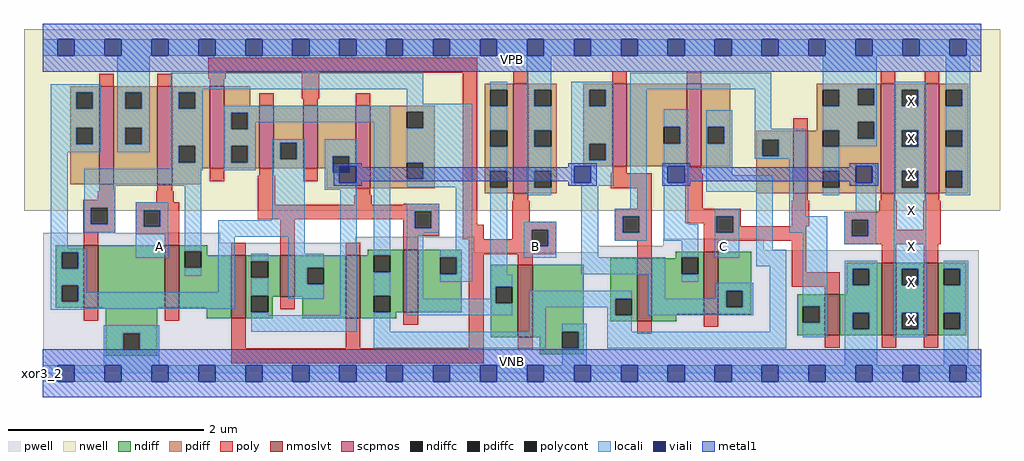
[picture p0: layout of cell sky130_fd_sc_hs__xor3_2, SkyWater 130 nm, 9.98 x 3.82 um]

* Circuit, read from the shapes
.subckt sky130_fd_sc_hs__xor3_2 A B C VGND VNB VPB VPWR X
XM1 VGND n1 n2 VNB sky130_fd_pr__nfet_01v8_lvt w=0.64 l=0.15
XM2 n1 A VGND VNB sky130_fd_pr__nfet_01v8_lvt w=0.64 l=0.15
XM3 n3 B n1 VNB sky130_fd_pr__nfet_01v8_lvt w=0.64 l=0.15
XM4 n2 n4 n3 VNB sky130_fd_pr__nfet_01v8_lvt w=0.42 l=0.15
XM5 n5 B n2 VNB sky130_fd_pr__nfet_01v8_lvt w=0.64 l=0.15
XM6 n1 n4 n5 VNB sky130_fd_pr__nfet_01v8_lvt w=0.64 l=0.15
XM7 VGND B n4 VNB sky130_fd_pr__nfet_01v8_lvt w=0.74 l=0.15
XM8 n6 n7 n5 VNB sky130_fd_pr__nfet_01v8_lvt w=0.64 l=0.15
XM9 n3 C n6 VNB sky130_fd_pr__nfet_01v8_lvt w=0.64 l=0.15
XM10 VGND C n7 VNB sky130_fd_pr__nfet_01v8_lvt w=0.42 l=0.15
XM11 X n6 VGND VNB sky130_fd_pr__nfet_01v8_lvt w=0.74 l=0.15 m=2
XM12 VPWR n1 n2 VPB sky130_fd_pr__pfet_01v8 w=1 l=0.15
XM13 n1 A VPWR VPB sky130_fd_pr__pfet_01v8 w=1 l=0.15
XM14 n5 B n1 VPB sky130_fd_pr__pfet_01v8 w=0.84 l=0.15
XM15 n2 n4 n5 VPB sky130_fd_pr__pfet_01v8 w=0.64 l=0.15
XM16 n3 B n2 VPB sky130_fd_pr__pfet_01v8 w=0.64 l=0.15
XM17 n1 n4 n3 VPB sky130_fd_pr__pfet_01v8 w=0.84 l=0.15
XM18 VPWR B n4 VPB sky130_fd_pr__pfet_01v8 w=1.12 l=0.15
XM19 n6 n7 n3 VPB sky130_fd_pr__pfet_01v8 w=0.84 l=0.15
XM20 n5 C n6 VPB sky130_fd_pr__pfet_01v8 w=0.84 l=0.15
XM21 VPWR C n7 VPB sky130_fd_pr__pfet_01v8 w=0.64 l=0.15
XM22 X n6 VPWR VPB sky130_fd_pr__pfet_01v8 w=1.12 l=0.15 m=2
.ends

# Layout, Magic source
magic
tech sky130A
magscale 1 2
<< nwell >>
rect -38 332 1958 704
<< pwell >>
rect 1 267 363 288
rect 639 267 883 279
rect 1 248 883 267
rect 1269 261 1475 275
rect 1135 252 1475 261
rect 1135 248 1915 252
rect 1 49 1915 248
rect 0 0 1920 49
<< scpmos >>
rect 116 387 146 587
rect 235 387 265 587
rect 342 419 372 587
rect 443 419 473 547
rect 533 419 563 547
rect 640 379 670 547
rect 963 368 993 592
rect 1165 424 1195 592
rect 1317 424 1347 592
rect 1535 368 1565 496
rect 1714 368 1744 592
rect 1804 368 1834 592
<< nmoslvt >>
rect 84 134 114 262
rect 250 134 280 262
rect 386 113 416 241
rect 486 157 516 241
rect 620 113 650 241
rect 738 125 768 253
rect 972 74 1002 222
rect 1216 107 1246 235
rect 1352 121 1382 249
rect 1600 78 1630 162
rect 1716 78 1746 226
rect 1802 78 1832 226
<< ndiff >>
rect 27 248 84 262
rect 27 214 39 248
rect 73 214 84 248
rect 27 180 84 214
rect 27 146 39 180
rect 73 146 84 180
rect 27 134 84 146
rect 114 134 250 262
rect 280 250 337 262
rect 280 216 291 250
rect 325 241 337 250
rect 665 241 738 253
rect 325 216 386 241
rect 280 134 386 216
rect 129 82 235 134
rect 336 113 386 134
rect 416 229 486 241
rect 416 195 427 229
rect 461 195 486 229
rect 416 159 486 195
rect 416 125 427 159
rect 461 157 486 159
rect 516 216 620 241
rect 516 182 541 216
rect 575 182 620 216
rect 516 157 620 182
rect 461 125 471 157
rect 416 113 471 125
rect 531 113 620 157
rect 650 207 677 241
rect 711 207 738 241
rect 650 159 738 207
rect 650 125 677 159
rect 711 125 738 159
rect 768 237 857 253
rect 768 203 813 237
rect 847 203 857 237
rect 768 125 857 203
rect 650 113 723 125
rect 129 48 165 82
rect 199 48 235 82
rect 129 36 235 48
rect 1295 237 1352 249
rect 1295 235 1307 237
rect 917 177 972 222
rect 917 143 927 177
rect 961 143 972 177
rect 917 74 972 143
rect 1002 85 1107 222
rect 1161 153 1216 235
rect 1161 119 1171 153
rect 1205 119 1216 153
rect 1161 107 1216 119
rect 1246 203 1307 235
rect 1341 203 1352 237
rect 1246 121 1352 203
rect 1382 169 1449 249
rect 1645 214 1716 226
rect 1382 135 1398 169
rect 1432 135 1449 169
rect 1645 180 1657 214
rect 1691 180 1716 214
rect 1645 162 1716 180
rect 1382 121 1449 135
rect 1543 137 1600 162
rect 1246 107 1296 121
rect 1002 74 1063 85
rect 1017 51 1063 74
rect 1097 51 1107 85
rect 1543 103 1555 137
rect 1589 103 1600 137
rect 1543 78 1600 103
rect 1630 124 1716 162
rect 1630 90 1657 124
rect 1691 90 1716 124
rect 1630 78 1716 90
rect 1746 214 1802 226
rect 1746 180 1757 214
rect 1791 180 1802 214
rect 1746 124 1802 180
rect 1746 90 1757 124
rect 1791 90 1802 124
rect 1746 78 1802 90
rect 1832 214 1889 226
rect 1832 180 1843 214
rect 1877 180 1889 214
rect 1832 124 1889 180
rect 1832 90 1843 124
rect 1877 90 1889 124
rect 1832 78 1889 90
rect 1017 39 1107 51
<< pdiff >>
rect 57 575 116 587
rect 57 541 69 575
rect 103 541 116 575
rect 57 502 116 541
rect 57 468 69 502
rect 103 468 116 502
rect 57 387 116 468
rect 146 575 235 587
rect 146 541 169 575
rect 203 541 235 575
rect 146 502 235 541
rect 146 468 169 502
rect 203 468 235 502
rect 146 387 235 468
rect 265 575 342 587
rect 265 541 278 575
rect 312 541 342 575
rect 265 465 342 541
rect 265 431 278 465
rect 312 431 342 465
rect 265 419 342 431
rect 372 547 425 587
rect 372 533 443 547
rect 372 499 386 533
rect 420 499 443 533
rect 372 465 443 499
rect 372 431 386 465
rect 420 431 443 465
rect 372 419 443 431
rect 473 472 533 547
rect 473 438 486 472
rect 520 438 533 472
rect 473 419 533 438
rect 563 444 640 547
rect 563 419 593 444
rect 265 387 324 419
rect 581 410 593 419
rect 627 410 640 444
rect 581 379 640 410
rect 670 535 802 547
rect 670 501 745 535
rect 779 501 802 535
rect 670 431 802 501
rect 670 397 745 431
rect 779 397 802 431
rect 670 379 802 397
rect 904 580 963 592
rect 904 546 916 580
rect 950 546 963 580
rect 904 497 963 546
rect 904 463 916 497
rect 950 463 963 497
rect 904 414 963 463
rect 904 380 916 414
rect 950 380 963 414
rect 904 368 963 380
rect 993 580 1052 592
rect 993 546 1006 580
rect 1040 546 1052 580
rect 993 497 1052 546
rect 993 463 1006 497
rect 1040 463 1052 497
rect 993 414 1052 463
rect 1106 580 1165 592
rect 1106 546 1118 580
rect 1152 546 1165 580
rect 1106 470 1165 546
rect 1106 436 1118 470
rect 1152 436 1165 470
rect 1106 424 1165 436
rect 1195 504 1317 592
rect 1195 470 1270 504
rect 1304 470 1317 504
rect 1195 424 1317 470
rect 1347 504 1406 592
rect 1583 582 1714 592
rect 1583 580 1667 582
rect 1583 546 1595 580
rect 1629 548 1667 580
rect 1701 548 1714 582
rect 1629 546 1714 548
rect 1347 470 1360 504
rect 1394 470 1406 504
rect 1583 514 1714 546
rect 1583 497 1667 514
rect 1583 496 1595 497
rect 1347 424 1406 470
rect 1460 478 1535 496
rect 1460 444 1472 478
rect 1506 444 1535 478
rect 993 380 1006 414
rect 1040 380 1052 414
rect 993 368 1052 380
rect 1460 368 1535 444
rect 1565 463 1595 496
rect 1629 480 1667 497
rect 1701 480 1714 514
rect 1629 463 1714 480
rect 1565 414 1714 463
rect 1565 380 1595 414
rect 1629 380 1714 414
rect 1565 368 1714 380
rect 1744 580 1804 592
rect 1744 546 1757 580
rect 1791 546 1804 580
rect 1744 497 1804 546
rect 1744 463 1757 497
rect 1791 463 1804 497
rect 1744 414 1804 463
rect 1744 380 1757 414
rect 1791 380 1804 414
rect 1744 368 1804 380
rect 1834 580 1893 592
rect 1834 546 1847 580
rect 1881 546 1893 580
rect 1834 497 1893 546
rect 1834 463 1847 497
rect 1881 463 1893 497
rect 1834 414 1893 463
rect 1834 380 1847 414
rect 1881 380 1893 414
rect 1834 368 1893 380
<< ndiffc >>
rect 39 214 73 248
rect 39 146 73 180
rect 291 216 325 250
rect 427 195 461 229
rect 427 125 461 159
rect 541 182 575 216
rect 677 207 711 241
rect 677 125 711 159
rect 813 203 847 237
rect 165 48 199 82
rect 927 143 961 177
rect 1171 119 1205 153
rect 1307 203 1341 237
rect 1398 135 1432 169
rect 1657 180 1691 214
rect 1063 51 1097 85
rect 1555 103 1589 137
rect 1657 90 1691 124
rect 1757 180 1791 214
rect 1757 90 1791 124
rect 1843 180 1877 214
rect 1843 90 1877 124
<< pdiffc >>
rect 69 541 103 575
rect 69 468 103 502
rect 169 541 203 575
rect 169 468 203 502
rect 278 541 312 575
rect 278 431 312 465
rect 386 499 420 533
rect 386 431 420 465
rect 486 438 520 472
rect 593 410 627 444
rect 745 501 779 535
rect 745 397 779 431
rect 916 546 950 580
rect 916 463 950 497
rect 916 380 950 414
rect 1006 546 1040 580
rect 1006 463 1040 497
rect 1118 546 1152 580
rect 1118 436 1152 470
rect 1270 470 1304 504
rect 1595 546 1629 580
rect 1667 548 1701 582
rect 1360 470 1394 504
rect 1472 444 1506 478
rect 1006 380 1040 414
rect 1595 463 1629 497
rect 1667 480 1701 514
rect 1595 380 1629 414
rect 1757 546 1791 580
rect 1757 463 1791 497
rect 1757 380 1791 414
rect 1847 546 1881 580
rect 1847 463 1881 497
rect 1847 380 1881 414
<< poly >>
rect 339 615 889 645
rect 116 587 146 613
rect 235 587 265 613
rect 339 602 375 615
rect 342 587 372 602
rect 443 547 473 573
rect 530 562 566 615
rect 533 547 563 562
rect 640 547 670 573
rect 342 393 372 419
rect 443 404 473 419
rect 116 372 146 387
rect 235 372 265 387
rect 113 355 149 372
rect 83 339 149 355
rect 232 350 268 372
rect 83 305 99 339
rect 133 305 149 339
rect 83 289 149 305
rect 191 334 280 350
rect 191 300 207 334
rect 241 300 280 334
rect 440 345 476 404
rect 533 393 563 419
rect 640 364 670 379
rect 637 345 673 364
rect 738 345 811 347
rect 440 331 811 345
rect 440 315 761 331
rect 84 262 114 289
rect 191 284 280 300
rect 250 262 280 284
rect 386 241 416 267
rect 486 241 516 315
rect 738 297 761 315
rect 795 297 811 331
rect 738 281 811 297
rect 859 304 889 615
rect 963 592 993 618
rect 1165 592 1195 618
rect 1317 592 1347 618
rect 1714 592 1744 618
rect 1804 592 1834 618
rect 1535 496 1565 522
rect 1165 409 1195 424
rect 1317 409 1347 424
rect 1162 379 1246 409
rect 963 353 993 368
rect 960 310 996 353
rect 1216 337 1246 379
rect 1170 321 1246 337
rect 620 241 650 267
rect 738 253 768 281
rect 859 274 902 304
rect 960 294 1050 310
rect 960 274 1000 294
rect 872 260 1000 274
rect 1034 260 1050 294
rect 1170 287 1186 321
rect 1220 287 1246 321
rect 1314 337 1350 409
rect 1535 353 1565 368
rect 1714 353 1744 368
rect 1804 353 1834 368
rect 1314 321 1428 337
rect 1314 307 1378 321
rect 1170 271 1246 287
rect 84 108 114 134
rect 250 108 280 134
rect 486 131 516 157
rect 872 244 1050 260
rect 386 51 416 113
rect 620 51 650 113
rect 738 99 768 125
rect 872 51 902 244
rect 972 222 1002 244
rect 1216 235 1246 271
rect 1352 287 1378 307
rect 1412 301 1428 321
rect 1532 301 1568 353
rect 1711 330 1747 353
rect 1639 314 1747 330
rect 1412 287 1562 301
rect 1352 271 1562 287
rect 1352 249 1382 271
rect 1532 207 1562 271
rect 1639 280 1655 314
rect 1689 294 1747 314
rect 1801 294 1837 353
rect 1689 280 1837 294
rect 1639 264 1837 280
rect 1716 226 1746 264
rect 1802 226 1832 264
rect 1532 177 1630 207
rect 1600 162 1630 177
rect 386 21 902 51
rect 972 48 1002 74
rect 1216 81 1246 107
rect 1352 95 1382 121
rect 1600 52 1630 78
rect 1716 52 1746 78
rect 1802 52 1832 78
<< polycont >>
rect 99 305 133 339
rect 207 300 241 334
rect 761 297 795 331
rect 1000 260 1034 294
rect 1186 287 1220 321
rect 1378 287 1412 321
rect 1655 280 1689 314
<< locali >>
rect 0 649 31 683
rect 65 649 127 683
rect 161 649 223 683
rect 257 649 319 683
rect 353 649 415 683
rect 449 649 511 683
rect 545 649 607 683
rect 641 649 703 683
rect 737 649 799 683
rect 833 649 895 683
rect 929 649 991 683
rect 1025 649 1087 683
rect 1121 649 1183 683
rect 1217 649 1279 683
rect 1313 649 1375 683
rect 1409 649 1471 683
rect 1505 649 1567 683
rect 1601 649 1663 683
rect 1697 649 1759 683
rect 1793 649 1855 683
rect 1889 649 1920 683
rect 17 575 119 591
rect 17 541 69 575
rect 103 541 119 575
rect 17 502 119 541
rect 17 468 69 502
rect 103 468 119 502
rect 17 452 119 468
rect 153 575 219 649
rect 153 541 169 575
rect 203 541 219 575
rect 153 502 219 541
rect 153 468 169 502
rect 203 468 219 502
rect 153 452 219 468
rect 262 581 779 615
rect 262 575 328 581
rect 262 541 278 575
rect 312 541 328 575
rect 745 551 779 581
rect 916 580 950 596
rect 262 465 328 541
rect 17 255 51 452
rect 262 431 278 465
rect 312 431 328 465
rect 262 418 328 431
rect 85 415 328 418
rect 370 533 711 547
rect 370 499 386 533
rect 420 513 711 533
rect 420 499 436 513
rect 370 465 436 499
rect 370 431 386 465
rect 420 431 436 465
rect 370 415 436 431
rect 470 472 536 479
rect 470 438 486 472
rect 520 438 536 472
rect 85 384 325 415
rect 85 339 149 384
rect 85 305 99 339
rect 133 305 149 339
rect 85 289 149 305
rect 191 334 257 350
rect 191 300 207 334
rect 241 300 257 334
rect 17 248 89 255
rect 17 214 39 248
rect 73 214 89 248
rect 191 236 257 300
rect 291 250 325 384
rect 470 313 536 438
rect 577 444 643 479
rect 577 410 593 444
rect 627 424 643 444
rect 577 390 607 410
rect 641 390 643 424
rect 577 375 643 390
rect 17 180 89 214
rect 291 200 325 216
rect 359 279 536 313
rect 17 146 39 180
rect 73 166 89 180
rect 359 166 393 279
rect 502 245 536 279
rect 73 146 393 166
rect 17 132 393 146
rect 427 229 461 245
rect 427 159 461 195
rect 17 130 89 132
rect 502 216 575 245
rect 502 182 541 216
rect 502 153 575 182
rect 427 119 461 125
rect 609 119 643 375
rect 125 82 239 98
rect 427 85 643 119
rect 677 241 711 513
rect 745 535 879 551
rect 779 501 879 535
rect 745 431 879 501
rect 779 397 879 431
rect 745 381 879 397
rect 677 159 711 207
rect 677 85 711 125
rect 745 331 811 347
rect 745 297 761 331
rect 795 297 811 331
rect 745 287 811 297
rect 745 153 779 287
rect 845 253 879 381
rect 813 237 879 253
rect 847 203 879 237
rect 813 187 879 203
rect 916 497 950 546
rect 916 414 950 463
rect 916 202 950 380
rect 990 580 1040 649
rect 990 546 1006 580
rect 990 497 1040 546
rect 990 463 1006 497
rect 990 414 1040 463
rect 990 380 1006 414
rect 1081 580 1168 596
rect 1081 546 1118 580
rect 1152 546 1168 580
rect 1081 470 1168 546
rect 1081 436 1118 470
rect 1152 436 1168 470
rect 1081 424 1168 436
rect 1081 390 1087 424
rect 1121 390 1168 424
rect 1081 384 1168 390
rect 1202 581 1490 615
rect 990 364 1040 380
rect 984 294 1050 310
rect 984 260 1000 294
rect 1034 260 1050 294
rect 984 236 1050 260
rect 1102 237 1136 384
rect 1202 337 1236 581
rect 1170 321 1236 337
rect 1170 287 1186 321
rect 1220 287 1236 321
rect 1170 271 1236 287
rect 1270 504 1320 540
rect 1304 470 1320 504
rect 1270 424 1320 470
rect 1270 390 1279 424
rect 1313 390 1320 424
rect 1270 305 1320 390
rect 1357 504 1410 538
rect 1357 470 1360 504
rect 1394 470 1410 504
rect 1357 405 1410 470
rect 1456 500 1490 581
rect 1595 582 1706 649
rect 1595 580 1667 582
rect 1629 548 1667 580
rect 1701 548 1706 582
rect 1629 546 1706 548
rect 1595 514 1706 546
rect 1456 478 1561 500
rect 1456 444 1472 478
rect 1506 444 1561 478
rect 1456 439 1561 444
rect 1357 371 1493 405
rect 1375 321 1425 337
rect 1270 271 1341 305
rect 1307 237 1341 271
rect 1102 203 1273 237
rect 916 177 961 202
rect 916 153 927 177
rect 745 143 927 153
rect 745 119 961 143
rect 995 153 1205 169
rect 995 135 1171 153
rect 995 85 1029 135
rect 1155 119 1171 135
rect 1239 153 1273 203
rect 1375 287 1378 321
rect 1412 287 1425 321
rect 1375 236 1425 287
rect 1459 253 1493 371
rect 1527 321 1561 439
rect 1595 497 1667 514
rect 1629 480 1667 497
rect 1701 480 1706 514
rect 1629 464 1706 480
rect 1741 580 1807 596
rect 1741 546 1757 580
rect 1791 546 1807 580
rect 1741 497 1807 546
rect 1595 414 1629 463
rect 1741 463 1757 497
rect 1791 463 1807 497
rect 1595 364 1629 380
rect 1663 424 1705 430
rect 1697 390 1705 424
rect 1663 330 1705 390
rect 1527 287 1605 321
rect 1459 219 1521 253
rect 1307 187 1341 203
rect 1377 169 1453 185
rect 1377 153 1398 169
rect 1239 135 1398 153
rect 1432 135 1453 169
rect 1239 119 1453 135
rect 125 48 165 82
rect 199 48 239 82
rect 677 51 1029 85
rect 1063 85 1113 101
rect 1097 51 1113 85
rect 1155 85 1205 119
rect 1487 85 1521 219
rect 1155 51 1521 85
rect 1555 137 1605 287
rect 1639 314 1705 330
rect 1639 280 1655 314
rect 1689 280 1705 314
rect 1639 264 1705 280
rect 1741 414 1807 463
rect 1741 380 1757 414
rect 1791 380 1807 414
rect 1589 103 1605 137
rect 1555 74 1605 103
rect 1641 214 1707 230
rect 1641 180 1657 214
rect 1691 180 1707 214
rect 1641 124 1707 180
rect 1641 90 1657 124
rect 1691 90 1707 124
rect 125 17 239 48
rect 1063 17 1113 51
rect 1641 17 1707 90
rect 1741 214 1807 380
rect 1847 580 1897 649
rect 1881 546 1897 580
rect 1847 497 1897 546
rect 1881 463 1897 497
rect 1847 414 1897 463
rect 1881 380 1897 414
rect 1847 364 1897 380
rect 1741 180 1757 214
rect 1791 180 1807 214
rect 1741 124 1807 180
rect 1741 90 1757 124
rect 1791 90 1807 124
rect 1741 74 1807 90
rect 1843 214 1893 230
rect 1877 180 1893 214
rect 1843 124 1893 180
rect 1877 90 1893 124
rect 1843 17 1893 90
rect 0 -17 31 17
rect 65 -17 127 17
rect 161 -17 223 17
rect 257 -17 319 17
rect 353 -17 415 17
rect 449 -17 511 17
rect 545 -17 607 17
rect 641 -17 703 17
rect 737 -17 799 17
rect 833 -17 895 17
rect 929 -17 991 17
rect 1025 -17 1087 17
rect 1121 -17 1183 17
rect 1217 -17 1279 17
rect 1313 -17 1375 17
rect 1409 -17 1471 17
rect 1505 -17 1567 17
rect 1601 -17 1663 17
rect 1697 -17 1759 17
rect 1793 -17 1855 17
rect 1889 -17 1920 17
<< viali >>
rect 31 649 65 683
rect 127 649 161 683
rect 223 649 257 683
rect 319 649 353 683
rect 415 649 449 683
rect 511 649 545 683
rect 607 649 641 683
rect 703 649 737 683
rect 799 649 833 683
rect 895 649 929 683
rect 991 649 1025 683
rect 1087 649 1121 683
rect 1183 649 1217 683
rect 1279 649 1313 683
rect 1375 649 1409 683
rect 1471 649 1505 683
rect 1567 649 1601 683
rect 1663 649 1697 683
rect 1759 649 1793 683
rect 1855 649 1889 683
rect 607 410 627 424
rect 627 410 641 424
rect 607 390 641 410
rect 1087 390 1121 424
rect 1279 390 1313 424
rect 1663 390 1697 424
rect 31 -17 65 17
rect 127 -17 161 17
rect 223 -17 257 17
rect 319 -17 353 17
rect 415 -17 449 17
rect 511 -17 545 17
rect 607 -17 641 17
rect 703 -17 737 17
rect 799 -17 833 17
rect 895 -17 929 17
rect 991 -17 1025 17
rect 1087 -17 1121 17
rect 1183 -17 1217 17
rect 1279 -17 1313 17
rect 1375 -17 1409 17
rect 1471 -17 1505 17
rect 1567 -17 1601 17
rect 1663 -17 1697 17
rect 1759 -17 1793 17
rect 1855 -17 1889 17
<< metal1 >>
rect 0 683 1920 715
rect 0 649 31 683
rect 65 649 127 683
rect 161 649 223 683
rect 257 649 319 683
rect 353 649 415 683
rect 449 649 511 683
rect 545 649 607 683
rect 641 649 703 683
rect 737 649 799 683
rect 833 649 895 683
rect 929 649 991 683
rect 1025 649 1087 683
rect 1121 649 1183 683
rect 1217 649 1279 683
rect 1313 649 1375 683
rect 1409 649 1471 683
rect 1505 649 1567 683
rect 1601 649 1663 683
rect 1697 649 1759 683
rect 1793 649 1855 683
rect 1889 649 1920 683
rect 0 617 1920 649
rect 595 424 653 430
rect 595 390 607 424
rect 641 421 653 424
rect 1075 424 1133 430
rect 1075 421 1087 424
rect 641 393 1087 421
rect 641 390 653 393
rect 595 384 653 390
rect 1075 390 1087 393
rect 1121 390 1133 424
rect 1075 384 1133 390
rect 1267 424 1325 430
rect 1267 390 1279 424
rect 1313 421 1325 424
rect 1651 424 1709 430
rect 1651 421 1663 424
rect 1313 393 1663 421
rect 1313 390 1325 393
rect 1267 384 1325 390
rect 1651 390 1663 393
rect 1697 390 1709 424
rect 1651 384 1709 390
rect 0 17 1920 49
rect 0 -17 31 17
rect 65 -17 127 17
rect 161 -17 223 17
rect 257 -17 319 17
rect 353 -17 415 17
rect 449 -17 511 17
rect 545 -17 607 17
rect 641 -17 703 17
rect 737 -17 799 17
rect 833 -17 895 17
rect 929 -17 991 17
rect 1025 -17 1087 17
rect 1121 -17 1183 17
rect 1217 -17 1279 17
rect 1313 -17 1375 17
rect 1409 -17 1471 17
rect 1505 -17 1567 17
rect 1601 -17 1663 17
rect 1697 -17 1759 17
rect 1793 -17 1855 17
rect 1889 -17 1920 17
rect 0 -49 1920 -17
<< labels >>
rlabel comment s 0 0 0 0 4 xor3_2
flabel pwell s 0 0 1920 49 0 FreeSans 200 0 0 0 VNB
port 5 nsew ground bidirectional
flabel nwell s 0 617 1920 666 0 FreeSans 200 0 0 0 VPB
port 6 nsew power bidirectional
flabel metal1 s 0 617 1920 666 0 FreeSans 340 0 0 0 VPWR
port 7 nsew power bidirectional
flabel metal1 s 0 0 1920 49 0 FreeSans 340 0 0 0 VGND
port 4 nsew ground bidirectional
flabel locali s 991 242 1025 276 0 FreeSans 340 0 0 0 B
port 2 nsew signal input
flabel locali s 1375 242 1409 276 0 FreeSans 340 0 0 0 C
port 3 nsew signal input
flabel locali s 223 242 257 276 0 FreeSans 340 0 0 0 A
port 1 nsew signal input
flabel locali s 1759 94 1793 128 0 FreeSans 340 0 0 0 X
port 8 nsew signal output
flabel locali s 1759 168 1793 202 0 FreeSans 340 0 0 0 X
port 8 nsew signal output
flabel locali s 1759 242 1793 276 0 FreeSans 340 0 0 0 X
port 8 nsew signal output
flabel locali s 1759 316 1793 350 0 FreeSans 340 0 0 0 X
port 8 nsew signal output
flabel locali s 1759 390 1793 424 0 FreeSans 340 0 0 0 X
port 8 nsew signal output
flabel locali s 1759 464 1793 498 0 FreeSans 340 0 0 0 X
port 8 nsew signal output
flabel locali s 1759 538 1793 572 0 FreeSans 340 0 0 0 X
port 8 nsew signal output
<< properties >>
string LEFsite unit
string LEFclass CORE
string FIXED_BBOX 0 0 1920 666
string GDS_FILE $PDKPATH/libs.ref/sky130_fd_sc_hs/gds/sky130_fd_sc_hs.gds
string LEFsymmetry X Y
string GDS_END 2811236
string GDS_START 2796652
<< end >>
